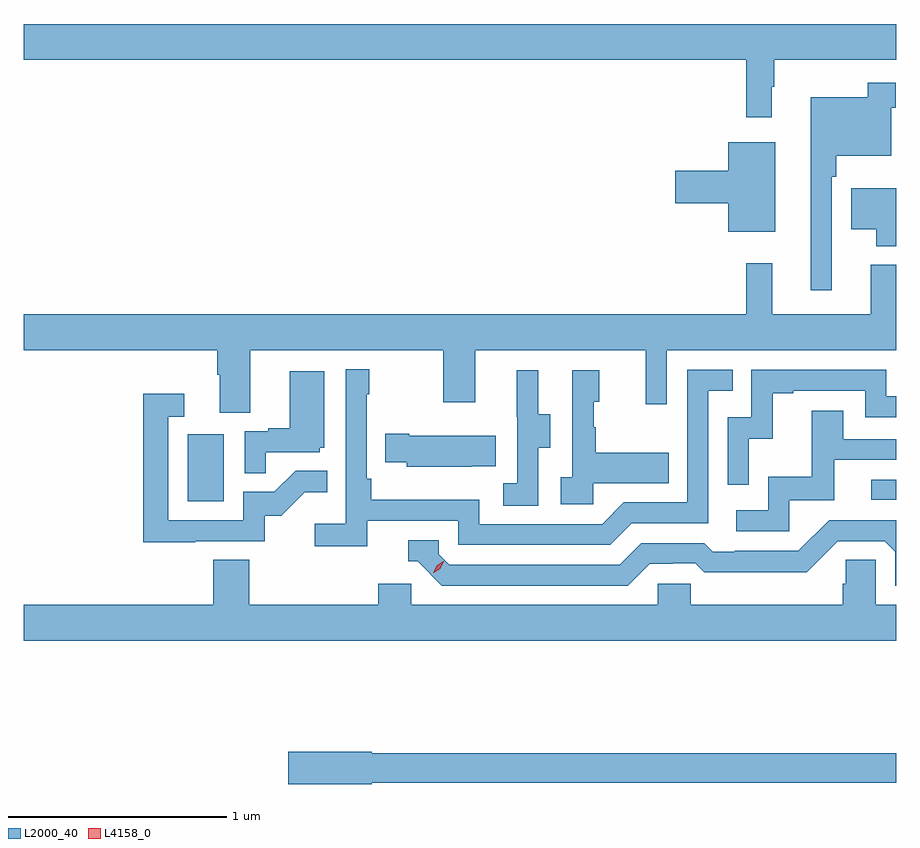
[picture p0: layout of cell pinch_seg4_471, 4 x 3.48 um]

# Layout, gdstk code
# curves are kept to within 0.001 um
import gdstk
lib = gdstk.Library(unit=1e-6, precision=1e-09)
def R(c, l, rs):  # rectangles x0, y0, x1, y1
    for r in rs: c.add(gdstk.rectangle(r[:2], r[2:], *l))
def P(c, l, *ps):  # polygons
    for p in ps: c.add(gdstk.Polygon(p, *l))
L2000_40 = (2000, 40)
L4158_0 = (4158, 0)

pinch_seg4_471 = lib.new_cell('pinch_seg4_471')
R(pinch_seg4_471, L2000_40, [(923.45,768.156,923.614,768.463), (926.583,768.162,926.698,768.255)])
P(pinch_seg4_471, L2000_40, [(926.128,770.057),(926.14,770.057),(926.14,770.18),(926.698,770.18),(926.698,770.344),(922.698,770.344),(922.698,770.18),(926.011,770.18),(926.011,769.917),(926.128,769.917)],
  [(926.403,769.643),(926.423,769.643),(926.423,769.739),(926.676,769.739),(926.676,769.961),(926.696,769.961),(926.696,770.074),(926.568,770.074),(926.568,770.008),(926.306,770.008),(926.306,769.122),(926.403,769.122)],
  [(926.143,769.801),(925.928,769.801),(925.928,769.67),(925.686,769.67),(925.686,769.523),(925.928,769.523),(925.928,769.391),(926.143,769.391)],
  [(926.698,769.591),(926.492,769.591),(926.492,769.403),(926.606,769.403),(926.606,769.325),(926.698,769.325)],
  [(923.737,768.848),(924.622,768.848),(924.622,768.609),(924.769,768.609),(924.769,768.848),(925.55,768.848),(925.55,768.6),(925.647,768.6),(925.647,768.848),(926.698,768.848),(926.698,769.24),(926.582,769.24),(926.582,769.012),(926.129,769.012),(926.129,769.246),(926.011,769.246),(926.011,769.012),(922.698,769.012),(922.698,768.848),(923.585,768.848),(923.585,768.736),(923.597,768.736),(923.597,768.562),(923.737,768.562)],
  [(924.272,768.066),(924.69,768.066),(924.69,767.955),(925.387,767.955),(925.486,768.054),(925.836,768.054),(925.836,768.663),(925.949,768.663),(925.949,768.759),(925.74,768.759),(925.74,768.15),(925.449,768.15),(925.35,768.051),(924.786,768.051),(924.786,768.163),(924.29,768.163),(924.29,768.259),(924.27,768.259),(924.27,768.647),(924.283,768.647),(924.283,768.76),(924.174,768.76),(924.174,768.052),(924.033,768.052),(924.033,767.95),(924.272,767.95)],
  [(926.022,768.443),(926.132,768.443),(926.132,768.651),(926.227,768.651),(926.227,768.663),(926.556,768.663),(926.556,768.54),(926.698,768.54),(926.698,768.636),(926.652,768.636),(926.652,768.759),(926.034,768.759),(926.034,768.54),(925.926,768.54),(925.926,768.231),(926.022,768.231)],
  [(925.056,768.4),(925.111,768.4),(925.111,768.555),(925.057,768.555),(925.057,768.757),(924.959,768.757),(924.959,768.543),(924.96,768.543),(924.96,768.239),(924.897,768.239),(924.897,768.136),(925.056,768.136)],
  [(925.308,768.239),(925.655,768.239),(925.655,768.379),(925.321,768.379),(925.321,768.494),(925.311,768.494),(925.311,768.612),(925.336,768.612),(925.336,768.757),(925.212,768.757),(925.212,768.266),(925.161,768.266),(925.161,768.141),(925.308,768.141)],
  [(923.807,768.381),(924.054,768.381),(924.054,768.402),(924.076,768.402),(924.076,768.751),(923.918,768.751),(923.918,768.49),(923.819,768.49),(923.819,768.477),(923.712,768.477),(923.712,768.283),(923.807,768.283)],
  [(923.483,767.973),(923.802,767.973),(923.802,768.09),(923.878,768.09),(923.985,768.197),(924.089,768.197),(924.089,768.296),(923.945,768.296),(923.847,768.198),(923.703,768.198),(923.703,768.069),(923.361,768.069),(923.361,768.543),(923.434,768.543),(923.434,768.649),(923.245,768.649),(923.245,767.968),(923.483,767.968)],
  [(926.208,768.159),(926.413,768.159),(926.413,768.345),(926.698,768.345),(926.698,768.441),(926.455,768.441),(926.455,768.571),(926.311,768.571),(926.311,768.268),(926.112,768.268),(926.112,768.114),(925.965,768.114),(925.965,768.018),(926.208,768.018)],
  [(924.755,768.317),(924.863,768.317),(924.863,768.457),(924.466,768.457),(924.466,768.465),(924.355,768.465),(924.355,768.335),(924.453,768.335),(924.453,768.314),(924.755,768.314)],
  [(925.567,767.868),(925.674,767.868),(925.674,767.871),(925.777,767.871),(925.819,767.829),(926.052,767.829),(926.052,767.831),(926.288,767.831),(926.43,767.973),(926.646,767.973),(926.694,767.925),(926.694,767.769),(926.698,767.769),(926.698,768.068),(926.391,768.069),(926.25,767.928),(925.957,767.928),(925.957,767.925),(925.858,767.925),(925.819,767.964),(925.53,767.964),(925.431,767.865),(924.648,767.865),(924.6,767.913),(924.6,767.976),(924.461,767.976),(924.461,767.88),(924.504,767.88),(924.615,767.769),(925.468,767.769)],
  [(926.467,767.888),(926.467,767.778),(926.453,767.778),(926.453,767.68),(925.755,767.68),(925.755,767.778),(925.605,767.778),(925.605,767.68),(924.474,767.68),(924.474,767.778),(924.323,767.778),(924.323,767.68),(923.732,767.68),(923.732,767.888),(923.567,767.888),(923.567,767.68),(922.698,767.68),(922.698,767.516),(926.698,767.516),(926.698,767.68),(926.604,767.68),(926.604,767.888)],
  [(924.294,766.864),(926.698,766.864),(926.698,767),(924.294,767),(924.294,767.006),(923.91,767.006),(923.91,766.859),(924.294,766.859)])
P(pinch_seg4_471, L4158_0, [(924.576,767.827),(924.576,767.828),(924.592,767.86),(924.622,767.88),(924.623,767.88),(924.623,767.88),(924.607,767.847),(924.577,767.827)])

lib.write_gds('pinch_seg4_471.gds')
